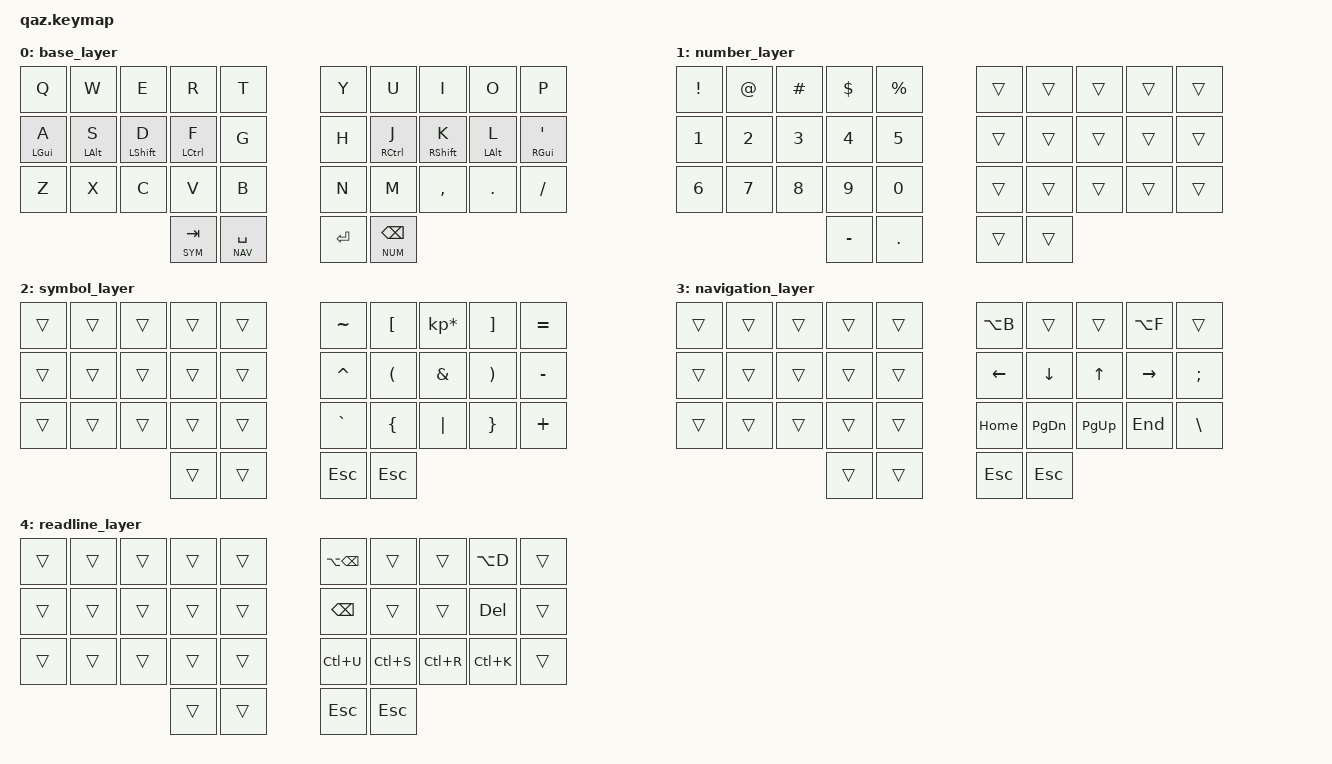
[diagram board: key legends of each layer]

#include <behaviors.dtsi>
#include <dt-bindings/zmk/keys.h>
#include <dt-bindings/zmk/bt.h>
#include <dt-bindings/zmk/outputs.h>


#define ___ &trans
#define KP_STAR KP_MULTIPLY

#define BASE 0
#define NUM 1
#define SYM 2
#define NAV 3
#define RDL 4

&kscan0 {
    debounce-period = <10>;
};

&lt {
    quick_tap_ms = <150>;
};

/ {

        combos {
            #include "combos.dtsi"
        };

        behaviors {

            hm: homerow_mods {
                compatible = "zmk,behavior-hold-tap";
                label = "HOMEROW_MODS";
                #binding-cells = <2>;
                tapping-term-ms = <180>;
                quick_tap_ms = <0>;
                flavor = "tap-preferred";
                bindings = <&kp>, <&kp>;
            };
        };

        keymap {
                compatible = "zmk,keymap";

    base_layer {
      bindings = <
        // ╭────────────┬──────────────┬─────────────┬─────────────┬─────────────╮  ╭────────────┬─────────────┬─────────────┬─────────────┬─────────────╮
             &kp Q          &kp W          &kp E         &kp R         &kp T             &kp Y          &kp U        &kp I         &kp O         &kp P
        // ├─────────────┼──────────────┼─────────────┼─────────────┼─────────────┤   ├─────────────┼─────────────┼─────────────┼─────────────┼─────────────┤
             &hm LGUI A     &hm LALT S     &hm LSHFT D   &hm LCTRL F   &kp G             &kp H          &hm RCTRL J  &hm RSHFT K   &hm LALT L    &hm RGUI SQT
        // ├─────────────┼──────────────┼─────────────┼─────────────┼─────────────┤   ├─────────────┼─────────────┼─────────────┼─────────────┼─────────────┤
             &kp Z          &kp X          &kp C         &kp V         &kp B             &kp N          &kp M        &kp COMMA     &kp DOT       &kp FSLH
        // ╰─────────────┴─────────────┴─────────────┼─────────────┼─────────────┤   ├─────────────┼─────────────┼─────────────┴─────────────┴─────────────╯
                                                         &lt SYM TAB &lt NAV SPACE      &kp RET       &lt NUM BSPC
        //                                           ╰─────────────┴─────────────╯  ╰─────────────┴────────────╯
      >;
    };

    number_layer {
      bindings = <
        // ╭────────────┬──────────────┬─────────────┬─────────────┬─────────────╮  ╭────────────┬─────────────┬─────────────┬─────────────┬─────────────╮
             &kp EXCL       &kp AT         &kp HASH      &kp DLLR      &kp PRCNT          ___           ___           ___           ___          ___
        // ├─────────────┼──────────────┼─────────────┼─────────────┼─────────────┤   ├─────────────┼─────────────┼─────────────┼─────────────┼─────────────┤
             &kp N1         &kp N2         &kp N3        &kp N4        &kp N5             ___           ___           ___           ___          ___
        // ├─────────────┼──────────────┼─────────────┼─────────────┼─────────────┤   ├─────────────┼─────────────┼─────────────┼─────────────┼─────────────┤
             &kp N6         &kp N7         &kp N8        &kp N9        &kp N0             ___           ___           ___           ___          ___
        // ╰─────────────┴─────────────┴─────────────┼─────────────┼─────────────┤   ├─────────────┼─────────────┼─────────────┴─────────────┴─────────────╯
                                                         &kp MINUS     &kp DOT            ___           ___
        //                                           ╰─────────────┴─────────────╯  ╰─────────────┴────────────╯
      >;
    };

    symbol_layer {
      bindings = <
        // ╭────────────┬─────────────┬─────────────┬─────────────┬─────────────╮  ╭────────────┬─────────────┬─────────────┬─────────────┬─────────────╮
             ___           ___           ___           ___           ___               &kp TILDE     &kp LBKT      &kp KP_STAR   &kp RBKT      &kp EQUAL
        // ├─────────────┼─────────────┼─────────────┬─────────────┼─────────────┤   ├─────────────┼─────────────┼─────────────┼─────────────┼─────────────┤
             ___           ___           ___           ___           ___               &kp CARET     &kp LPAR      &kp AMPS      &kp RPAR      &kp MINUS
        // ├─────────────┼─────────────┼─────────────┬─────────────┼─────────────┤   ├─────────────┼─────────────┼─────────────┼─────────────┼─────────────┤
             ___           ___           ___           ___           ___               &kp GRAVE     &kp LBRC      &kp PIPE      &kp RBRC      &kp PLUS
        // ╰────────────┴─────────────┼─────────────┬─────────────┼─────────────┤   ├─────────────┼─────────────┼─────────────┼─────────────┴─────────────╯
                                                       ___           ___               &kp ESC       &kp ESC
        //                                          ╰─────────────┴─────────────╯  ╰────────────┴─────────────╯
      >;
    };

    navigation_layer {
      bindings = <
        // ╭────────────┬─────────────┬─────────────┬─────────────┬─────────────╮  ╭────────────┬─────────────┬─────────────┬─────────────┬─────────────╮
             ___           ___           ___           ___           ___               &kp LA(B)     ___           ___           &kp LA(F)     ___
        // ├─────────────┼─────────────┼─────────────┬─────────────┼─────────────┤   ├─────────────┼─────────────┼─────────────┼─────────────┼─────────────┤
             ___           ___           ___           ___           ___               &kp LEFT      &kp DOWN      &kp UP        &kp RIGHT     &kp SEMI
        // ├─────────────┼─────────────┼─────────────┬─────────────┼─────────────┤   ├─────────────┼─────────────┼─────────────┼─────────────┼─────────────┤
             ___           ___           ___           ___           ___               &kp HOME      &kp PG_DN     &kp PG_UP     &kp END       &kp BSLH
        // ╰────────────┴─────────────┼─────────────┬─────────────┼─────────────┤   ├─────────────┼─────────────┼─────────────┼─────────────┴─────────────╯
                                                       ___           ___               &kp ESC       &kp ESC
        //                                          ╰─────────────┴─────────────╯  ╰────────────┴─────────────╯
      >;
    };

    readline_layer {
      bindings = <
        // ╭────────────┬─────────────┬─────────────┬─────────────┬─────────────╮  ╭────────────┬─────────────┬─────────────┬─────────────┬─────────────╮
             ___           ___           ___           ___           ___               &kp LA(BSPC)  ___           ___           &kp LA(D)     ___
        // ├─────────────┼─────────────┼─────────────┬─────────────┼─────────────┤   ├─────────────┼─────────────┼─────────────┼─────────────┼─────────────┤
             ___           ___           ___           ___           ___               &kp BSPC      ___           ___           &kp DEL       ___
        // ├─────────────┼─────────────┼─────────────┬─────────────┼─────────────┤   ├─────────────┼─────────────┼─────────────┼─────────────┼─────────────┤
             ___           ___           ___           ___           ___               &kp LC(U)     &kp LC(S)     &kp LC(R)     &kp LC(K)     ___
        // ╰────────────┴─────────────┼─────────────┬─────────────┼─────────────┤   ├─────────────┼─────────────┼─────────────┼─────────────┴─────────────╯
                                                       ___           ___               &kp ESC       &kp ESC
        //                                          ╰─────────────┴─────────────╯  ╰────────────┴─────────────╯
      >;
    };

  };
};
